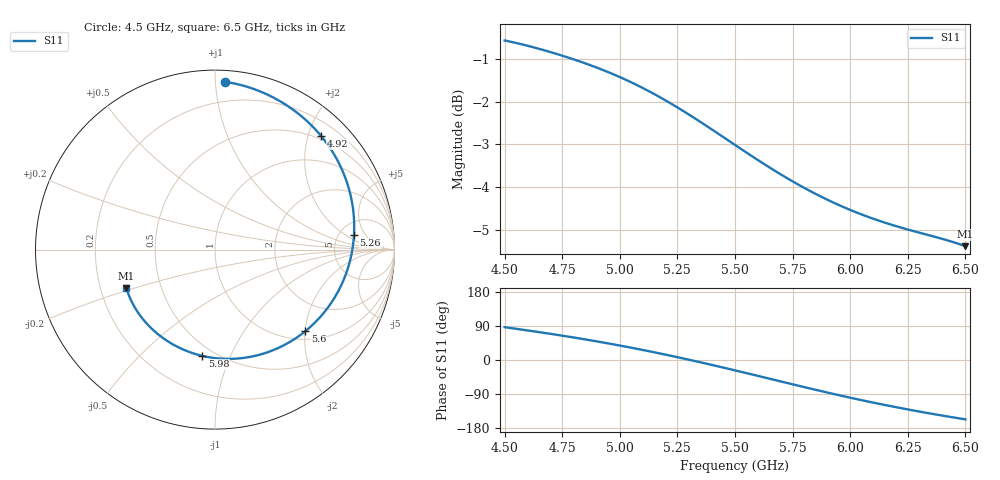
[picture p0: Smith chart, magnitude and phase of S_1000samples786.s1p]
! TOUCHSTONE file generated by CST MICROWAVE STUDIO
! Date and time: Sat Oct 29 09:19:30 2022
! Project name: L.cst
! Parameters = {Di=1.27; Epsilon_r=1.56; InnerDiameter=1.27; Length=2; Lf=10; Lg=60; OuterConductorThickness=0.2921; OuterDiameter=3.6; Wf=3; Wp=41.2; de=1.5; df=6.8; g=0.8; gx=3.82657; gy=2.75401; h=2.34; hf=1.524; px=12.6644; py=9.96047; w=9.7; wx=8.83784; wy=7.20646}
! Header version: 2018
! Port assignment regex: !\s*Touchstone port\s*([0-9]+)\s*=\s*(CST MWS port|CST DS port)\s*([0-9]+|Zmin|Zmax)\s*\(\"(.*)\"\)(\s*mode\s*([0-9]+))?.*
! Touchstone port assignment:
! Touchstone port 1 = CST MWS port 1 ("")
# GHz S DB R 50
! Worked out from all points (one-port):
!   101 points, 4.5 GHz to 6.5 GHz, reference 50 ohm
!   lowest |S11| = -5.4 dB at 6.5 GHz (marker M1), VSWR 3.33, Z = 15.6 - j9.38 ohm
!   |S11| at or under -10 dB: nowhere
!   S11 on the Smith chart (normalised r, x): 4.5 GHz: 0.07, +1.06; 4.92 GHz: 0.44, +2.23; 5.26 GHz: 6.81, +2.87; 5.6 GHz: 1.19, -2.01; 5.98 GHz: 0.43, -0.79; 6.5 GHz: 0.31, -0.19
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4.5  -0.57 86.5
4.58  -0.67 79.7
4.64  -0.75 74.4
4.76  -0.94 63.3
4.84  -1.09 55.4
4.92  -1.25 47.0
5  -1.43 38.2
5.08  -1.63 28.8
5.14  -1.80 21.5
5.2  -1.98 13.9
5.26  -2.17 6.1
5.32  -2.37 -2.0
5.38  -2.58 -10.2
5.44  -2.80 -18.7
5.5  -3.01 -27.4
5.6  -3.37 -42.0
5.68  -3.64 -53.8
5.76  -3.90 -65.6
5.8  -4.02 -71.4
5.86  -4.19 -80.1
5.92  -4.35 -88.5
5.98  -4.49 -96.8
6  -4.54 -99.5
6.08  -4.70 -109.9
6.14  -4.82 -117.4
6.26  -5.01 -131.5
6.38  -5.18 -144.6
6.5  -5.38 -156.6
